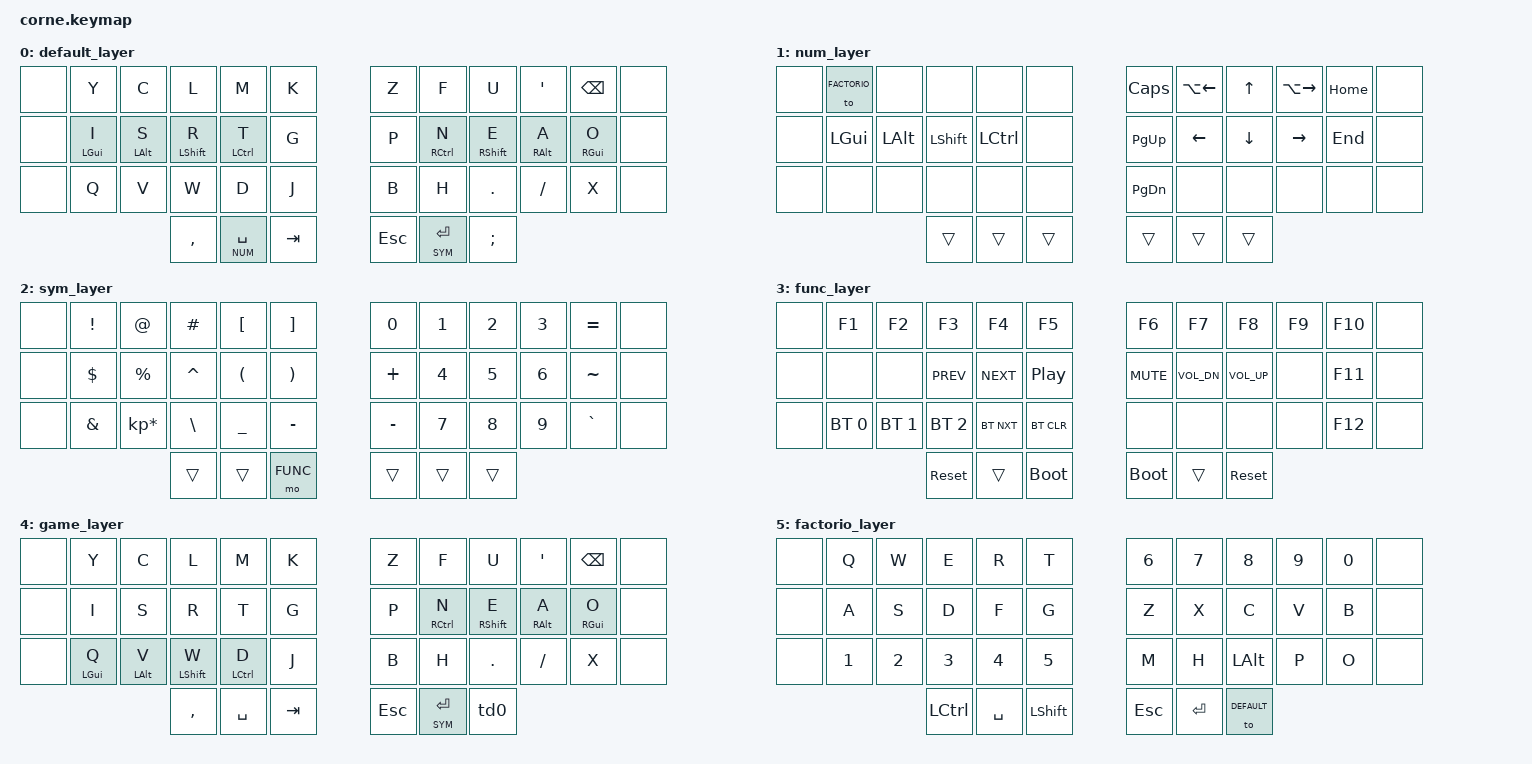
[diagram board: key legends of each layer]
/*
 * Copyright (c) 2020 The ZMK Contributors
 *
 * SPDX-License-Identifier: MIT
 */

#include <dt-bindings/zmk/keys.h>
#include <dt-bindings/zmk/bt.h>
#include <dt-bindings/zmk/ext_power.h>
#include <behaviors.dtsi>

// LAYERS
#define DEFAULT 0
#define NUM     1
#define SYM     2
#define FUNC    3
#define GAME    4
#define FACTORIO 5

// MACROS
#define SUPER LC(LSHIFT)
#define SUPER2 LA(LC(LSHIFT))

&mt {
  tapping-term-ms = <200>;
  flavor = "tap-preferred";
};

/ {
  behaviors {
    hm: homerow_mods {
      compatible = "zmk,behavior-hold-tap";
      label = "HOMEROW_MODS";
      #binding-cells = <2>;
      tapping-term-ms = <200>;
      quick-tap-ms = <0>;
      flavor = "tap-preferred";
      bindings = <&kp>, <&kp>;
    };

    td0: tap_dance_0 {
      compatible = "zmk,behavior-tap-dance";
      label = "TAP_DANCE_0";
      #binding-cells = <0>;
      tapping-term-ms = <200>;
      bindings = <&kp COLON>, <&kp SEMI>;
    };

    td1: tap_dance_1 {
      compatible = "zmk,behavior-tap-dance";
      label = "TAP_DANCE_1";
      #binding-cells = <0>;
      tapping-term-ms = <200>;
      bindings = <&mt LCTRL TAB>, <&kp ESC>;
    };
  };

  combos {
    compatible = "zmk,combos";
    combo_game {
      timeout-ms = <50>;
      key-positions = <1 5 6 10>;
      bindings = <&tog GAME>;
    };
  };

  macros {
    };

  keymap {
    compatible = "zmk,keymap";

    default_layer {
      bindings = <

&none   /**/  &kp Y           &kp C       &kp L        &kp M          &kp K   /**/  &kp Z    &kp F           &kp U        &kp SQT     &kp BKSP    /**/  &none
&none   /**/  &hm LGUI I      &hm LALT S  &hm LSHIFT R &hm LCTRL T    &kp G   /**/  &kp P    &hm RCTRL N     &hm RSHIFT E &hm RALT A  &hm RGUI O   /**/  &none
&none   /**/  &kp Q           &kp V       &kp W        &kp D          &kp J   /**/  &kp B    &kp H           &kp DOT      &kp FSLH    &kp X        /**/  &none
              &kp COMMA       &lt NUM SPACE   &kp TAB       /**/      &kp ESC        &lt SYM RET     &kp SEMICOLON

      >;
    };

    num_layer {
      bindings = <

&none   /**/ &to FACTORIO &none       &none       &none      &none   /**/  &kp CAPSLOCK  &kp LA(LEFT)  &kp UP        &kp LA(RIGHT) &kp HOME    /**/  &none
&none   /**/ &kp LGUI   &kp LALT    &kp LSHIFT  &kp LCTRL  &none   /**/  &kp PG_UP     &kp LEFT      &kp DOWN      &kp RIGHT     &kp END      /**/  &none
&none   /**/ &none      &none       &none       &none      &none   /**/  &kp PG_DN     &none         &none         &none         &none          /**/  &none
              &trans  &trans  &trans  /**/  &trans &trans  &trans

      >;
    };

    sym_layer {
      bindings = <

&none   /**/  &kp EXCL       &kp AT            &kp HASH    &kp LBKT   &kp RBKT    /**/    &kp N0     &kp N1  &kp N2  &kp N3  &kp EQUAL /**/  &none
&none   /**/  &kp DLLR       &kp PRCNT         &kp CARET   &kp LPAR   &kp RPAR    /**/    &kp PLUS   &kp N4  &kp N5  &kp N6  &kp TILDE /**/  &none
&none   /**/  &kp AMPS       &kp KP_MULTIPLY   &kp BSLH    &kp UNDER  &kp MINUS     /**/  &kp MINUS  &kp N7  &kp N8  &kp N9  &kp GRAVE  /**/  &none
              &trans &trans &mo FUNC  /**/  &trans &trans &trans

      >;
    };

    func_layer {
      bindings = <

&none   /**/  &kp F1          &kp F2          &kp F3          &kp F4     &kp F5            /**/  &kp F6          &kp F7       &kp F8       &kp F9   &kp F10  /**/  &none
&none   /**/  &none           &none           &kp C_PREV      &kp C_NEXT &kp C_PLAY_PAUSE  /**/  &kp C_MUTE      &kp C_VOL_DN &kp C_VOL_UP &none    &kp F11  /**/  &none
&none   /**/  &bt BT_SEL 0    &bt BT_SEL 1    &bt BT_SEL 2    &bt BT_NXT &bt BT_CLR        /**/  &none           &none        &none        &none    &kp F12  /**/  &none
              &sys_reset &trans &bootloader  /**/  &bootloader &trans &sys_reset

      >;
    };
    game_layer {
      bindings = <

&none   /**/  &kp Y           &kp C       &kp L        &kp M          &kp K   /**/  &kp Z    &kp F           &kp U        &kp SQT     &kp BKSP    /**/  &none
&none   /**/  &kp I      &kp S &kp R &kp T     &kp G   /**/  &kp P    &hm RCTRL N     &hm RSHIFT E &hm RALT A  &hm RGUI O   /**/  &none
&none   /**/  &hm LGUI Q           &hm LALT V       &hm LSHIFT W        &hm LCTRL D          &kp J   /**/  &kp B    &kp H           &kp DOT      &kp FSLH    &kp X        /**/  &none
              &kp COMMA       &kp SPACE   &kp TAB       /**/      &kp ESC        &lt SYM RET     &td0

      >;
    };

    factorio_layer {
      bindings = <

&none   /**/  &kp Q      &kp W      &kp E      &kp R      &kp T   /**/  &kp N6   &kp N7    &kp N8    &kp N9   &kp N0  /**/  &none
&none   /**/  &kp A      &kp S      &kp D      &kp F      &kp G   /**/  &kp Z    &kp X     &kp C     &kp V    &kp B   /**/  &none
&none   /**/  &kp N1     &kp N2     &kp N3     &kp N4     &kp N5  /**/  &kp M    &kp H     &kp LALT  &kp P    &kp O   /**/  &none
              &kp LCTRL  &kp SPACE  &kp LSHIFT          /**/  &kp ESC  &kp RET   &to DEFAULT

      >;
    };
  };
};
